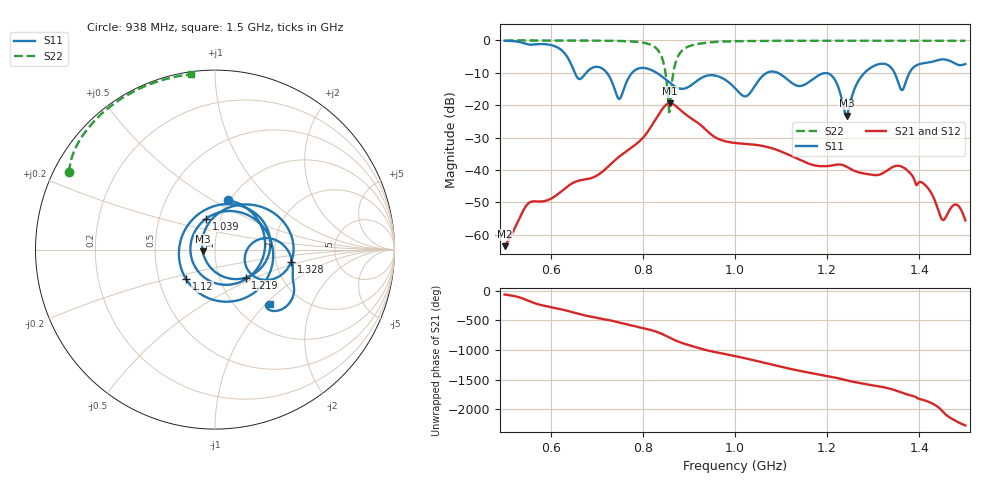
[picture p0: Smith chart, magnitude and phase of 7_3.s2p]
! TOUCHSTONE file generated by CST MICROWAVE STUDIO
! Date and time: Fri Dec 11 13:54:07 2020
! Project name: Scenario_1_Planar_Body_Tissue_Out_of_Line_v2.cst
! Parameters = {dy1=-242.2; L_HA=400; Ltissue=700; MT=2.54; Rad_Dielectric=30; Rad_Lower=7.3; Rad_Upper=30; Wtissue=700; a_HA=580; a_WG=246; b_HA=500; b_WG=121; c_HA=0; c_WG=187; d_feed=85; dx1=520; h_feed=15; h_lower=18; h_upper=40; hfat=3; hgap=25; hmuscle=50; hskin=1.5}
! Header version: 2018
! Port assignment regex: !\s*Touchstone port\s*([0-9]+)\s*=\s*(CST MWS port|CST DS port)\s*([0-9]+|Zmin|Zmax)\s*\(\"(.*)\"\)(\s*mode\s*([0-9]+))?.*
! Touchstone port assignment:
! Touchstone port 1 = CST MWS port 1 ("")
! Touchstone port 2 = CST MWS port 2 ("")
# GHz S DB R 50
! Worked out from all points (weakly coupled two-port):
!   1003 points, 500 MHz to 1.5 GHz, reference 50 ohm
!   highest |S21| = -19.39 dB at 859 MHz (marker M1); lowest = -63.5 dB at 500 MHz (marker M2)
!   lowest |S11| = -23.2 dB at 1.242 GHz (marker M3), VSWR 1.15, Z = 43.6 - j0.798 ohm
!   |S11| at or under -10 dB: 722.1 MHz to 776.6 MHz (54.58 MHz wide, 7.28 % of centre); 830 MHz to 1.069 GHz (239.2 MHz wide, 25.2 % of centre); 1.093 GHz to 1.281 GHz (188.2 MHz wide, 15.9 % of centre) (the widest 3 of 5)
!   |S22| runs from -22.2 to 0.0 dB; largest |S21 - S12| = 3e-05
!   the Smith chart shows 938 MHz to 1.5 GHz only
!   S11 on the Smith chart (normalised r, x): 938 MHz: 0.99, +0.59; 1.039 GHz: 0.86, +0.31; 1.12 GHz: 0.69, -0.24; 1.219 GHz: 1.33, -0.44; 1.328 GHz: 2.42, -0.41; 1.5 GHz: 1.42, -1.06
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0.5  -0.09 -122.0  -63.48 -66.3  -63.48 -66.3  -0.01 151.2
0.598  -1.35 -175.0  -49.01 85.5  -49.01 85.5  -0.02 144.3
0.633  -4.47 146.8  -45.45 25.6  -45.45 25.6  -0.03 141.5
0.667  -11.63 162.1  -43.09 -44.4  -43.09 -44.4  -0.04 138.4
0.742  -16.37 21.5  -36.66 -164.2  -36.66 -164.3  -0.14 128.9
0.788  -8.79 163.0  -31.68 110.8  -31.68 110.8  -0.46 117.7
0.834  -10.37 54.0  -22.96 14.7  -22.96 14.7  -3.24 83.4
0.859  -13.13 -11.7  -19.39 -75.4  -19.39 -75.4  -20.29 -89.3
0.88  -14.84 -77.9  -21.28 -146.8  -21.28 -146.8  -4.03 -173.3
0.938  -10.92 74.8  -27.74 77.6  -27.74 77.6  -0.71 152.1
1  -14.72 -92.8  -31.64 -20.5  -31.64 -20.5  -0.25 140.2
1.039  -14.93 105.8  -32.12 -89.0  -32.12 -89.0  -0.19 135.5
1.075  -9.69 -9.2  -33.06 -156.5  -33.06 -156.5  -0.14 132.0
1.12  -12.78 -134.9  -35.50 123.0  -35.50 123.0  -0.11 128.0
1.167  -12.16 87.5  -38.34 49.6  -38.34 49.6  -0.10 124.2
1.219  -12.71 -42.5  -38.36 -25.5  -38.36 -25.5  -0.09 120.2
1.242  -23.19 -172.4  -38.96 -71.1  -38.96 -71.1  -0.09 118.5
1.328  -7.34 -9.3  -40.33 165.5  -40.33 165.5  -0.08 112.0
1.334  -7.78 -17.6  -39.75 154.1  -39.75 154.1  -0.09 111.5
1.362  -15.35 -12.1  -38.95 83.4  -38.95 83.4  -0.09 109.4
1.45  -5.84 -34.4  -55.35 132.2  -55.35 132.2  -0.11 102.3
1.5  -7.28 -44.5  -55.53 -108.8  -55.53 -108.8  -0.13 97.9
